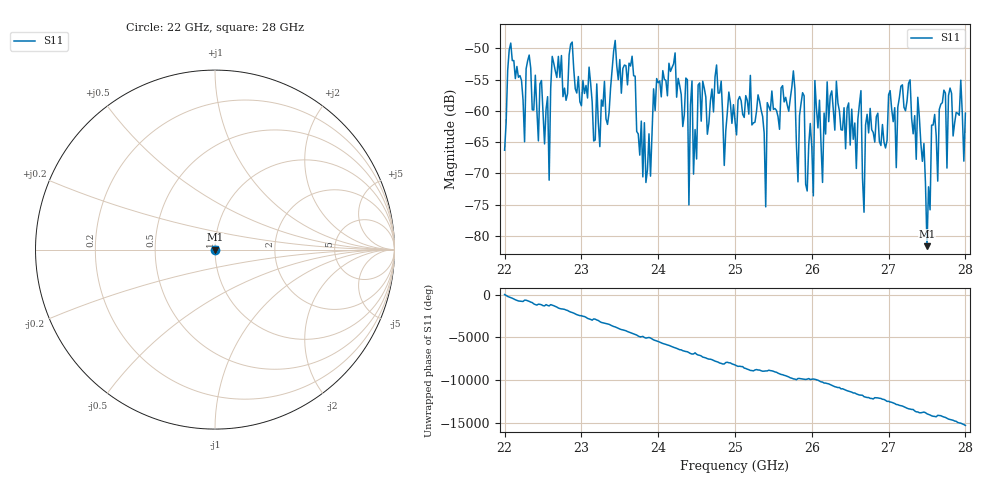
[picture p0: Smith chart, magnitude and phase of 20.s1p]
#  HZ  S  RI  R  50.00
! Rohde & Schwarz ZVA40 4Ports - Version 3.90 - 1145.1110k42 SN: 100403
! Date: 2023-10-04 07:01:33
! Measurement: S12
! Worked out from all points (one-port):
!   301 points, 22 GHz to 28 GHz, reference 50 ohm
!   lowest |S11| = -81.7 dB at 27.5 GHz (marker M1), VSWR 1.00, Z = 50 + j0.00745 ohm
!   |S11| at or under -10 dB: start of sweep to end of sweep
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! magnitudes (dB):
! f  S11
! 22 GHz  -66.3
! 22.08 GHz  -49.2
! 22.58 GHz  -71.1
! 22.62 GHz  -51.3
! 22.76 GHz  -57.7
! 23.5 GHz  -51.8
! 23.84 GHz  -71.5
! 24.26 GHz  -54.8
! 24.38 GHz  -55.0
! 24.4 GHz  -75.1
! 24.44 GHz  -55.2
! 24.46 GHz  -70.1
! 25 GHz  -61.6
! 25.3 GHz  -57.4
! 25.4 GHz  -75.4
! 25.42 GHz  -58.7
! 25.76 GHz  -53.6
! 25.82 GHz  -71.4
! 25.88 GHz  -57.1
! 26.02 GHz  -73.6
! 26.04 GHz  -55.2
! 26.14 GHz  -71.5
! 26.2 GHz  -55.4
! 26.5 GHz  -65.5
! 27.26 GHz  -55.6
! 27.5 GHz  -81.7
! 27.6 GHz  -60.6
! 28 GHz  -60.4
